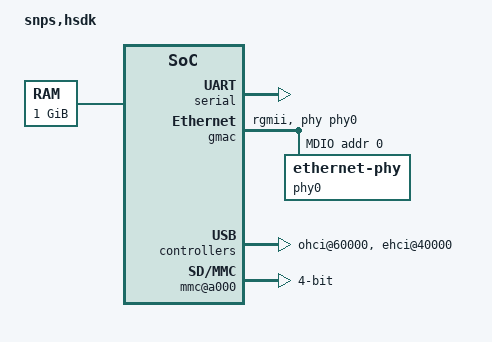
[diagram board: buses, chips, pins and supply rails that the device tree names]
// SPDX-License-Identifier: GPL-2.0-only
/*
 * Copyright (C) 2017 Synopsys, Inc. (www.synopsys.com)
 */

/*
 * Device Tree for ARC HS Development Kit
 */
/dts-v1/;

#include <dt-bindings/reset/snps,hsdk-reset.h>

/ {
	model = "snps,hsdk";
	compatible = "snps,hsdk";

	#address-cells = <2>;
	#size-cells = <2>;

	chosen {
		bootargs = "earlycon=uart8250,mmio32,0xf0005000,115200n8 console=ttyS0,115200n8 debug print-fatal-signals=1";
	};

	aliases {
		ethernet = &gmac;
	};

	cpus {
		#address-cells = <1>;
		#size-cells = <0>;

		cpu@0 {
			device_type = "cpu";
			compatible = "snps,archs38";
			reg = <0>;
			clocks = <&core_clk>;
		};

		cpu@1 {
			device_type = "cpu";
			compatible = "snps,archs38";
			reg = <1>;
			clocks = <&core_clk>;
		};

		cpu@2 {
			device_type = "cpu";
			compatible = "snps,archs38";
			reg = <2>;
			clocks = <&core_clk>;
		};

		cpu@3 {
			device_type = "cpu";
			compatible = "snps,archs38";
			reg = <3>;
			clocks = <&core_clk>;
		};
	};

	input_clk: input-clk {
		#clock-cells = <0>;
		compatible = "fixed-clock";
		clock-frequency = <33333333>;
	};

	cpu_intc: cpu-interrupt-controller {
		compatible = "snps,archs-intc";
		interrupt-controller;
		#interrupt-cells = <1>;
	};

	idu_intc: idu-interrupt-controller {
		compatible = "snps,archs-idu-intc";
		interrupt-controller;
		#interrupt-cells = <1>;
		interrupt-parent = <&cpu_intc>;
	};

	arcpct: pct {
		compatible = "snps,archs-pct";
	};

	/* TIMER0 with interrupt for clockevent */
	timer {
		compatible = "snps,arc-timer";
		interrupts = <16>;
		interrupt-parent = <&cpu_intc>;
		clocks = <&core_clk>;
	};

	/* 64-bit Global Free Running Counter */
	gfrc {
		compatible = "snps,archs-timer-gfrc";
		clocks = <&core_clk>;
	};

	soc {
		compatible = "simple-bus";
		#address-cells = <1>;
		#size-cells = <1>;
		interrupt-parent = <&idu_intc>;

		ranges = <0x00000000 0x0 0xf0000000 0x10000000>;

		cgu_rst: reset-controller@8a0 {
			compatible = "snps,hsdk-reset";
			#reset-cells = <1>;
			reg = <0x8a0 0x4>, <0xff0 0x4>;
		};

		core_clk: core-clk@0 {
			compatible = "snps,hsdk-core-pll-clock";
			reg = <0x00 0x10>, <0x14b8 0x4>;
			#clock-cells = <0>;
			clocks = <&input_clk>;

			/*
			 * Set initial core pll output frequency to 1GHz.
			 * It will be applied at the core pll driver probing
			 * on early boot.
			 */
			assigned-clocks = <&core_clk>;
			assigned-clock-rates = <1000000000>;
		};

		serial: serial@5000 {
			compatible = "snps,dw-apb-uart";
			reg = <0x5000 0x100>;
			clock-frequency = <33330000>;
			interrupts = <6>;
			baud = <115200>;
			reg-shift = <2>;
			reg-io-width = <4>;
		};

		gmacclk: gmacclk {
			compatible = "fixed-clock";
			clock-frequency = <400000000>;
			#clock-cells = <0>;
		};

		mmcclk_ciu: mmcclk-ciu {
			compatible = "fixed-clock";
			/*
			 * DW sdio controller has external ciu clock divider
			 * controlled via register in SDIO IP. Due to its
			 * unexpected default value (it should divide by 1
			 * but it divides by 8) SDIO IP uses wrong clock and
			 * works unstable (see STAR 9001204800)
			 * We switched to the minimum possible value of the
			 * divisor (div-by-2) in HSDK platform code.
			 * So add temporary fix and change clock frequency
			 * to 50000000 Hz until we fix dw sdio driver itself.
			 */
			clock-frequency = <50000000>;
			#clock-cells = <0>;
		};

		mmcclk_biu: mmcclk-biu {
			compatible = "fixed-clock";
			clock-frequency = <400000000>;
			#clock-cells = <0>;
		};

		gpu_core_clk: gpu-core-clk {
			compatible = "fixed-clock";
			clock-frequency = <400000000>;
			#clock-cells = <0>;
		};

		gpu_dma_clk: gpu-dma-clk {
			compatible = "fixed-clock";
			clock-frequency = <400000000>;
			#clock-cells = <0>;
		};

		gpu_cfg_clk: gpu-cfg-clk {
			compatible = "fixed-clock";
			clock-frequency = <200000000>;
			#clock-cells = <0>;
		};

		dmac_core_clk: dmac-core-clk {
			compatible = "fixed-clock";
			clock-frequency = <400000000>;
			#clock-cells = <0>;
		};

		dmac_cfg_clk: dmac-gpu-cfg-clk {
			compatible = "fixed-clock";
			clock-frequency = <200000000>;
			#clock-cells = <0>;
		};

		gmac: ethernet@8000 {
			#interrupt-cells = <1>;
			compatible = "snps,dwmac";
			reg = <0x8000 0x2000>;
			interrupts = <10>;
			interrupt-names = "macirq";
			phy-mode = "rgmii";
			snps,pbl = <32>;
			snps,multicast-filter-bins = <256>;
			clocks = <&gmacclk>;
			clock-names = "stmmaceth";
			phy-handle = <&phy0>;
			resets = <&cgu_rst HSDK_ETH_RESET>;
			reset-names = "stmmaceth";
			mac-address = [00 00 00 00 00 00]; /* Filled in by U-Boot */
			dma-coherent;

			tx-fifo-depth = <4096>;
			rx-fifo-depth = <4096>;

			mdio {
				#address-cells = <1>;
				#size-cells = <0>;
				compatible = "snps,dwmac-mdio";
				phy0: ethernet-phy@0 {
					reg = <0>;
				};
			};
		};

		ohci@60000 {
			compatible = "snps,hsdk-v1.0-ohci", "generic-ohci";
			reg = <0x60000 0x100>;
			interrupts = <15>;
			resets = <&cgu_rst HSDK_USB_RESET>;
			dma-coherent;
		};

		ehci@40000 {
			compatible = "snps,hsdk-v1.0-ehci", "generic-ehci";
			reg = <0x40000 0x100>;
			interrupts = <15>;
			resets = <&cgu_rst HSDK_USB_RESET>;
			dma-coherent;
		};

		mmc@a000 {
			compatible = "altr,socfpga-dw-mshc";
			reg = <0xa000 0x400>;
			num-slots = <1>;
			fifo-depth = <16>;
			card-detect-delay = <200>;
			clocks = <&mmcclk_biu>, <&mmcclk_ciu>;
			clock-names = "biu", "ciu";
			interrupts = <12>;
			bus-width = <4>;
			dma-coherent;
		};

		creg_gpio: gpio@14b0 {
			compatible = "snps,creg-gpio-hsdk";
			reg = <0x14b0 0x4>;
			gpio-controller;
			#gpio-cells = <2>;
			ngpios = <2>;
		};

		gpio: gpio@3000 {
			compatible = "snps,dw-apb-gpio";
			reg = <0x3000 0x20>;
			#address-cells = <1>;
			#size-cells = <0>;

			gpio_port_a: gpio-controller@0 {
				compatible = "snps,dw-apb-gpio-port";
				gpio-controller;
				#gpio-cells = <2>;
				snps,nr-gpios = <24>;
				reg = <0>;
			};
		};

		gpu_3d: gpu@90000 {
			compatible = "vivante,gc";
			reg = <0x90000 0x4000>;
			clocks = <&gpu_dma_clk>,
				 <&gpu_cfg_clk>,
				 <&gpu_core_clk>,
				 <&gpu_core_clk>;
			clock-names = "bus", "reg", "core", "shader";
			interrupts = <28>;
		};

		dmac: dmac@80000 {
			compatible = "snps,axi-dma-1.01a";
			reg = <0x80000 0x400>;
			interrupts = <27>;
			clocks = <&dmac_core_clk>, <&dmac_cfg_clk>;
			clock-names = "core-clk", "cfgr-clk";

			dma-channels = <4>;
			snps,dma-masters = <2>;
			snps,data-width = <3>;
			snps,block-size = <4096 4096 4096 4096>;
			snps,priority = <0 1 2 3>;
			snps,axi-max-burst-len = <16>;
		};
	};

	memory@80000000 {
		#address-cells = <2>;
		#size-cells = <2>;
		device_type = "memory";
		reg = <0x0 0x80000000 0x0 0x40000000>;  /* 1 GB lowmem */
		/*     0x1 0x00000000 0x0 0x40000000>;     1 GB highmem */
	};
};
